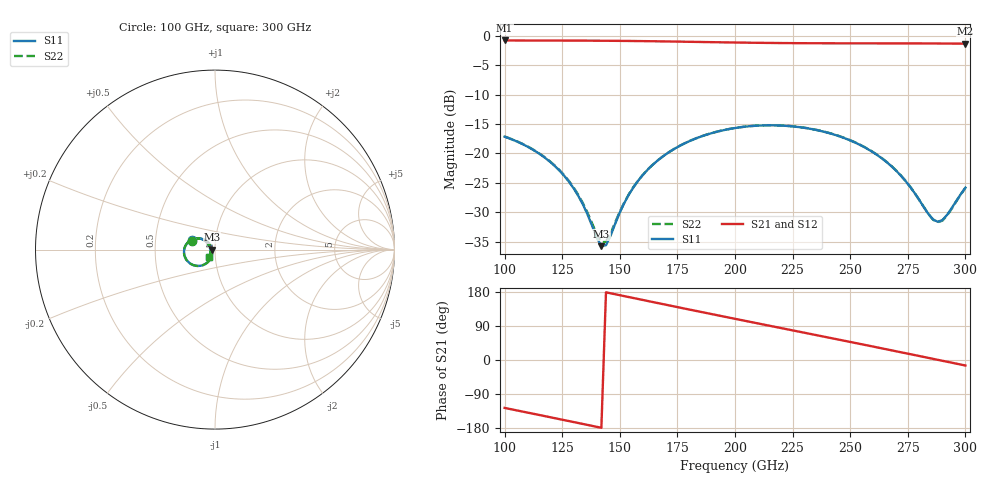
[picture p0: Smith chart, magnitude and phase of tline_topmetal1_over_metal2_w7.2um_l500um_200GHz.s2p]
#  GHZ S DB R 50
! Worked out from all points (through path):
!   101 points, 100 GHz to 300 GHz, reference 50 ohm
!   highest |S21| = -0.83 dB at 100 GHz (marker M1); lowest = -1.4 dB at 300 GHz (marker M2)
!   group delay of S21, straight-line fit = 3.44 ps
!   lowest |S11| = -35.7 dB at 142 GHz (marker M3), VSWR 1.03, Z = 48.4 + j0.0473 ohm
!   |S11| at or under -10 dB: start of sweep to end of sweep
!   |S22| runs from -35.0 to -15.2 dB; largest |S21 - S12| = 1.5e-13
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100  -17.16 158.0  -0.83 -126.5  -0.83 -126.5  -17.12 158.7
110  -18.85 147.0  -0.84 -138.8  -0.84 -138.8  -18.81 147.9
120  -21.50 137.6  -0.85 -151.3  -0.85 -151.3  -21.44 138.7
128  -24.82 132.9  -0.86 -161.3  -0.86 -161.3  -24.71 134.4
134  -28.65 135.0  -0.86 -168.8  -0.86 -168.8  -28.45 136.9
142  -35.72 178.3  -0.88 -178.9  -0.88 -178.9  -35.01 178.6
144  -35.55 -157.6  -0.88 178.6  -0.88 178.6  -34.93 -159.3
152  -28.36 -117.9  -0.91 168.5  -0.91 168.5  -28.27 -119.5
156  -25.69 -116.0  -0.93 163.5  -0.93 163.5  -25.64 -117.0
162  -22.79 -118.1  -0.95 155.9  -0.95 155.9  -22.77 -118.7
168  -20.70 -122.6  -0.99 148.4  -0.99 148.4  -20.69 -123.0
182  -17.61 -136.3  -1.07 130.9  -1.07 130.9  -17.60 -136.4
200  -15.69 -155.7  -1.18 108.7  -1.18 108.7  -15.67 -155.5
216  -15.22 -173.2  -1.26 89.2  -1.26 89.2  -15.20 -172.8
234  -15.91 167.7  -1.30 67.2  -1.30 67.2  -15.89 168.1
252  -18.12 150.0  -1.32 45.2  -1.32 45.2  -18.09 150.5
268  -22.20 139.1  -1.32 25.4  -1.32 25.4  -22.16 139.6
276  -25.65 140.3  -1.33 15.5  -1.33 15.5  -25.61 140.6
284  -30.28 160.0  -1.34 5.5  -1.34 5.5  -30.29 160.0
288  -31.58 -175.3  -1.35 0.5  -1.35 0.5  -31.66 -175.2
292  -30.44 -150.0  -1.36 -4.5  -1.36 -4.5  -30.55 -149.4
300  -25.79 -129.0  -1.38 -14.5  -1.38 -14.5  -25.85 -128.0
